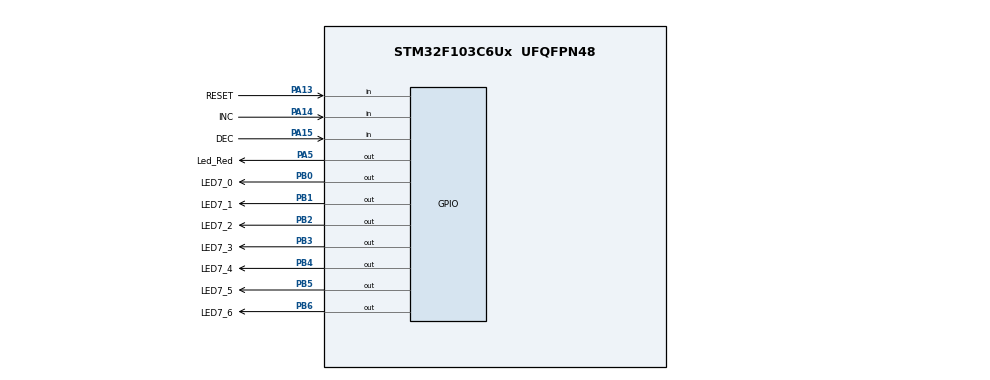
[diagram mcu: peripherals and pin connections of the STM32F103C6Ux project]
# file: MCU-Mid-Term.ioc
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Mcu.Family=STM32F1
Mcu.Name=STM32F103C6Ux
Mcu.Package=UFQFPN48
NVIC.PriorityGroup=NVIC_PRIORITYGROUP_4
NVIC.TIM2_IRQn=true\:0\:0\:false\:false\:true\:true\:true\:true
PA13.GPIO_Label=RESET
PA13.GPIO_PuPd=GPIO_PULLUP
PA13.Signal=GPIO_Input
PA14.GPIO_Label=INC 
PA14.GPIO_PuPd=GPIO_PULLUP
PA14.Signal=GPIO_Input
PA15.GPIO_Label=DEC
PA15.GPIO_PuPd=GPIO_PULLUP
PA15.Signal=GPIO_Input
PA5.GPIO_Label=Led_Red
PA5.Signal=GPIO_Output
PB0.GPIO_Label=LED7_0
PB0.Signal=GPIO_Output
PB1.GPIO_Label=LED7_1
PB1.Signal=GPIO_Output
PB2.GPIO_Label=LED7_2
PB2.Signal=GPIO_Output
PB3.GPIO_Label=LED7_3
PB3.Signal=GPIO_Output
PB4.GPIO_Label=LED7_4
PB4.Signal=GPIO_Output
PB5.GPIO_Label=LED7_5
PB5.Signal=GPIO_Output
PB6.GPIO_Label=LED7_6
PB6.Signal=GPIO_Output
ProjectManager.HeapSize=0x200
ProjectManager.StackSize=0x400
ProjectManager.TargetToolchain=STM32CubeIDE
RCC.APB1Freq_Value=8000000
RCC.APB2Freq_Value=8000000
TIM2.Period=9
TIM2.Prescaler=7999
VP_TIM2_VS_ClockSourceINT.Mode=Internal
board=custom

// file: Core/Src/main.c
/* USER CODE BEGIN Header */
/**
  ******************************************************************************
  * @file           : main.c
  * @brief          : Main program body
  ******************************************************************************
  * @attention
  *
  * Copyright (c) 2022 STMicroelectronics.
  * All rights reserved.
  *
  * This software is licensed under terms that can be found in the LICENSE file
  * in the root directory of this software component.
  * If no LICENSE file comes with this software, it is provided AS-IS.
  *
  ******************************************************************************
  */
/* USER CODE END Header */
#include "main.h"

/* USER CODE BEGIN Includes */
#include "software_timer.h"
#include "button.h"
#include "global.h"
#include "fsm_simple_buttons_run.h"
/* USER CODE END Includes */

TIM_HandleTypeDef htim2;

void SystemClock_Config(void);
static void MX_GPIO_Init(void);
static void MX_TIM2_Init(void);

int main(void)
{

  /* MCU Configuration--------------------------------------------------------*/

  /* Reset of all peripherals, Initializes the Flash interface and the Systick. */
  HAL_Init();

  /* Configure the system clock */
  SystemClock_Config();

  /* Initialize all configured peripherals */
  MX_GPIO_Init();
  MX_TIM2_Init();
  /* USER CODE BEGIN 2 */
  HAL_TIM_Base_Start_IT(&htim2);

  /* USER CODE END 2 */

  /* Infinite loop */
  /* USER CODE BEGIN WHILE */
  setTimer1(1000);
  setTimer2(1000);
  setTimer3(1000);

  status = NUM0;
  //counter = 9;
  display7SEG(counter);
  while (1)
  {
    /* USER CODE END WHILE */

    /* USER CODE BEGIN 3 */
	  fsm_simple_buttons_run();
  }
  /* USER CODE END 3 */
}

void SystemClock_Config(void)
{
  RCC_OscInitTypeDef RCC_OscInitStruct = {0};
  RCC_ClkInitTypeDef RCC_ClkInitStruct = {0};

  /** Initializes the RCC Oscillators according to the specified parameters
  * in the RCC_OscInitTypeDef structure.
  */
  RCC_OscInitStruct.OscillatorType = RCC_OSCILLATORTYPE_HSI;
  RCC_OscInitStruct.HSIState = RCC_HSI_ON;
  RCC_OscInitStruct.HSICalibrationValue = RCC_HSICALIBRATION_DEFAULT;
  RCC_OscInitStruct.PLL.PLLState = RCC_PLL_NONE;
  if (HAL_RCC_OscConfig(&RCC_OscInitStruct) != HAL_OK)
  {
    Error_Handler();
  }

  /** Initializes the CPU, AHB and APB buses clocks
  */
  RCC_ClkInitStruct.ClockType = RCC_CLOCKTYPE_HCLK|RCC_CLOCKTYPE_SYSCLK
                              |RCC_CLOCKTYPE_PCLK1|RCC_CLOCKTYPE_PCLK2;
  RCC_ClkInitStruct.SYSCLKSource = RCC_SYSCLKSOURCE_HSI;
  RCC_ClkInitStruct.AHBCLKDivider = RCC_SYSCLK_DIV1;
  RCC_ClkInitStruct.APB1CLKDivider = RCC_HCLK_DIV1;
  RCC_ClkInitStruct.APB2CLKDivider = RCC_HCLK_DIV1;

  if (HAL_RCC_ClockConfig(&RCC_ClkInitStruct, FLASH_LATENCY_0) != HAL_OK)
  {
    Error_Handler();
  }
}

static void MX_TIM2_Init(void)
{

  TIM_ClockConfigTypeDef sClockSourceConfig = {0};
  TIM_MasterConfigTypeDef sMasterConfig = {0};

  htim2.Instance = TIM2;
  htim2.Init.Prescaler = 7999;
  htim2.Init.CounterMode = TIM_COUNTERMODE_UP;
  htim2.Init.Period = 9;
  htim2.Init.ClockDivision = TIM_CLOCKDIVISION_DIV1;
  htim2.Init.AutoReloadPreload = TIM_AUTORELOAD_PRELOAD_DISABLE;
  if (HAL_TIM_Base_Init(&htim2) != HAL_OK)
  {
    Error_Handler();
  }
  sClockSourceConfig.ClockSource = TIM_CLOCKSOURCE_INTERNAL;
  if (HAL_TIM_ConfigClockSource(&htim2, &sClockSourceConfig) != HAL_OK)
  {
    Error_Handler();
  }
  sMasterConfig.MasterOutputTrigger = TIM_TRGO_RESET;
  sMasterConfig.MasterSlaveMode = TIM_MASTERSLAVEMODE_DISABLE;
  if (HAL_TIMEx_MasterConfigSynchronization(&htim2, &sMasterConfig) != HAL_OK)
  {
    Error_Handler();
  }

}

static void MX_GPIO_Init(void)
{
  GPIO_InitTypeDef GPIO_InitStruct = {0};

  /* GPIO Ports Clock Enable */
  __HAL_RCC_GPIOA_CLK_ENABLE();
  __HAL_RCC_GPIOB_CLK_ENABLE();

  /*Configure GPIO pin Output Level */
  HAL_GPIO_WritePin(Led_Red_GPIO_Port, Led_Red_Pin, GPIO_PIN_RESET);

  /*Configure GPIO pin Output Level */
  HAL_GPIO_WritePin(GPIOB, LED7_0_Pin|LED7_1_Pin|LED7_2_Pin|LED7_3_Pin
                          |LED7_4_Pin|LED7_5_Pin|LED7_6_Pin, GPIO_PIN_RESET);

  /*Configure GPIO pin : Led_Red_Pin */
  GPIO_InitStruct.Pin = Led_Red_Pin;
  GPIO_InitStruct.Mode = GPIO_MODE_OUTPUT_PP;
  GPIO_InitStruct.Pull = GPIO_NOPULL;
  GPIO_InitStruct.Speed = GPIO_SPEED_FREQ_LOW;
  HAL_GPIO_Init(Led_Red_GPIO_Port, &GPIO_InitStruct);

  /*Configure GPIO pins : LED7_0_Pin LED7_1_Pin LED7_2_Pin LED7_3_Pin
                           LED7_4_Pin LED7_5_Pin LED7_6_Pin */
  GPIO_InitStruct.Pin = LED7_0_Pin|LED7_1_Pin|LED7_2_Pin|LED7_3_Pin
                          |LED7_4_Pin|LED7_5_Pin|LED7_6_Pin;
  GPIO_InitStruct.Mode = GPIO_MODE_OUTPUT_PP;
  GPIO_InitStruct.Pull = GPIO_NOPULL;
  GPIO_InitStruct.Speed = GPIO_SPEED_FREQ_LOW;
  HAL_GPIO_Init(GPIOB, &GPIO_InitStruct);

  /*Configure GPIO pins : RESET_Pin INC_Pin DEC_Pin */
  GPIO_InitStruct.Pin = RESET_Pin|INC_Pin|DEC_Pin;
  GPIO_InitStruct.Mode = GPIO_MODE_INPUT;
  GPIO_InitStruct.Pull = GPIO_PULLUP;
  HAL_GPIO_Init(GPIOA, &GPIO_InitStruct);

}

/* USER CODE BEGIN 4 */
void HAL_TIM_PeriodElapsedCallback(TIM_HandleTypeDef *htim){
	timerRun();
	getKeyInput1();
	getKeyInput2();
	getKeyInput3();
}
/* USER CODE END 4 */

void Error_Handler(void)
{
  __disable_irq();
  while (1)
  {
  }
}
